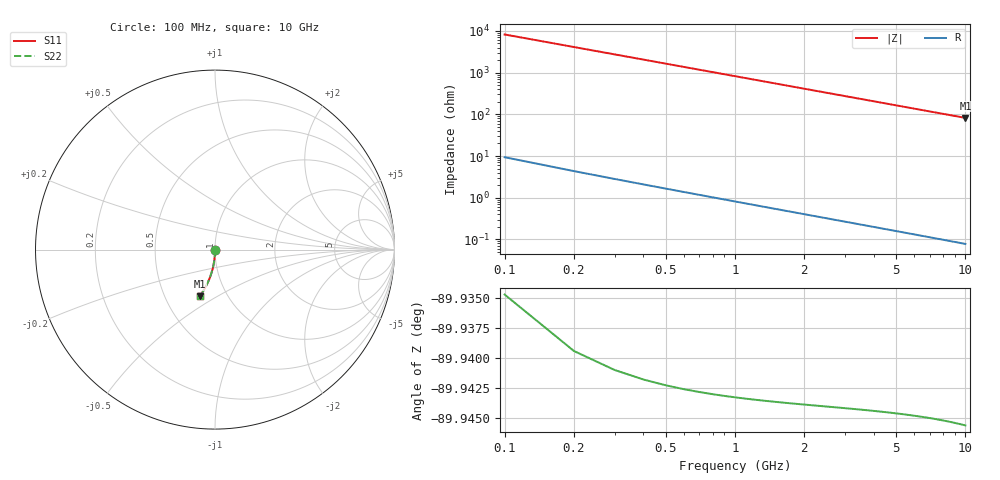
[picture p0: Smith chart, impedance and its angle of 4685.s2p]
# Hz S RI R 50.00
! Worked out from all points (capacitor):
!   100 points, 100 MHz to 10 GHz, reference 50 ohm
!   read as one part in shunt: C = 193 fF near 100 MHz
!   lowest |Z| = 82.2 ohm at 10 GHz (marker M1)
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1e8  9.53e-05 -0.00284  0.9999 -0.00323  0.9999 -0.00323  9.53e-05 -0.00284
2e8  6.55e-05 -0.00569  0.9998 -0.00647  0.9998 -0.00647  6.55e-05 -0.00569
3e8  1.71e-05 -0.00853  0.9998 -0.0097  0.9998 -0.0097  1.71e-05 -0.00853
4e8  -4.98e-05 -0.0114  0.9997 -0.0129  0.9997 -0.0129  -4.98e-05 -0.0114
5e8  -0.000135 -0.0142  0.9996 -0.0162  0.9996 -0.0162  -0.000135 -0.0142
6e8  -0.000239 -0.0171  0.9995 -0.0194  0.9995 -0.0194  -0.000239 -0.0171
7e8  -0.000361 -0.0199  0.9994 -0.0226  0.9994 -0.0226  -0.000361 -0.0199
8e8  -0.000502 -0.0227  0.9993 -0.0259  0.9993 -0.0259  -0.000502 -0.0227
9e8  -0.000661 -0.0256  0.9991 -0.0291  0.9991 -0.0291  -0.000661 -0.0256
1.1e9  -0.00103 -0.0312  0.9987 -0.0356  0.9987 -0.0356  -0.00103 -0.0312
1.4e9  -0.00173 -0.0397  0.998 -0.0452  0.998 -0.0452  -0.00173 -0.0397
1.8e9  -0.00291 -0.051  0.9968 -0.0581  0.9968 -0.0581  -0.00291 -0.051
2.1e9  -0.00399 -0.0595  0.9957 -0.0677  0.9957 -0.0677  -0.00399 -0.0595
2.5e9  -0.00568 -0.0707  0.994 -0.0805  0.994 -0.0805  -0.00568 -0.0707
2.9e9  -0.00766 -0.0818  0.992 -0.0932  0.992 -0.0932  -0.00766 -0.0818
3.4e9  -0.0105 -0.0957  0.9891 -0.109  0.9891 -0.109  -0.0105 -0.0957
4.2e9  -0.016 -0.1175  0.9836 -0.134  0.9836 -0.134  -0.016 -0.1175
5.1e9  -0.0235 -0.1417  0.9761 -0.1617  0.9761 -0.1617  -0.0235 -0.1417
5.9e9  -0.0312 -0.1626  0.9683 -0.1857  0.9683 -0.1857  -0.0312 -0.1626
6.7e9  -0.04 -0.1829  0.9594 -0.2092  0.9594 -0.2092  -0.04 -0.1829
8.4e9  -0.0616 -0.2241  0.9376 -0.2571  0.9376 -0.2571  -0.0616 -0.2241
1e10  -0.0853 -0.2599  0.9137 -0.2993  0.9137 -0.2993  -0.0853 -0.2599
